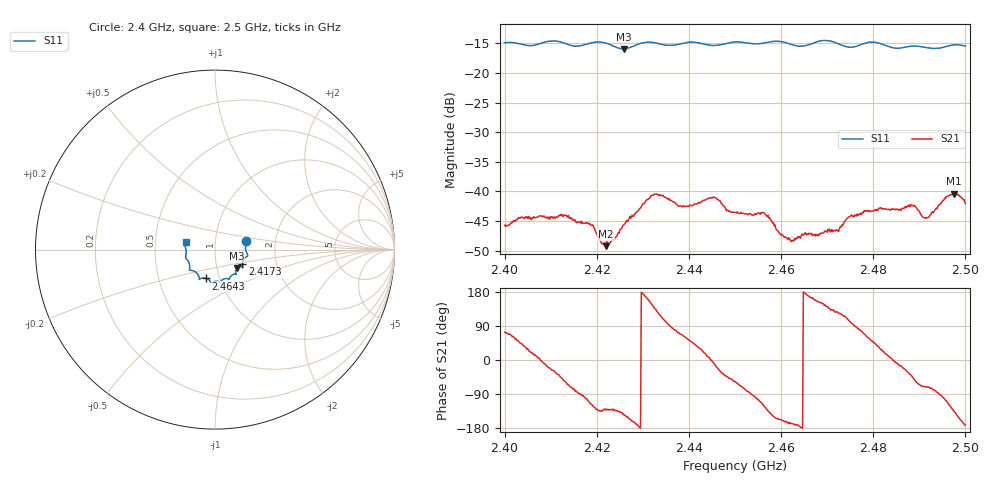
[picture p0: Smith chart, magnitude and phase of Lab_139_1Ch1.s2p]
# Hz S RI R 50
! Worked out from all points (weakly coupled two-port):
!   601 points, 2.4 GHz to 2.5 GHz, reference 50 ohm
!   highest |S21| = -40.40 dB at 2.4975 GHz (marker M1); lowest = -49.3 dB at 2.422 GHz (marker M2)
!   lowest |S11| = -15.9 dB at 2.4258 GHz (marker M3), VSWR 1.38, Z = 62.3 - j13.3 ohm
!   |S11| at or under -10 dB: start of sweep to end of sweep
!   S12 and S22 are empty: the file has one direction only
!   S11 on the Smith chart (normalised r, x): 2.4 GHz: 1.41, +0.14; 2.4173 GHz: 1.34, -0.23; 2.4643 GHz: 0.86, -0.28; 2.5 GHz: 0.72, +0.06
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2.4e9  0.1735 0.0491  0.00147 0.00492  0 0  0 0
2.4125e9  0.1771 -0.0382  0.0041 -0.00478  0 0  0 0
2.416667e9  0.1531 -0.0747  -0.000158 -0.00558  0 0  0 0
2.417333e9  0.1524 -0.082  -0.000744 -0.00534  0 0  0 0
2.422e9  0.1517 -0.0948  -0.00217 -0.00267  0 0  0 0
2.425833e9  0.1215 -0.1038  -0.00419 -0.00308  0 0  0 0
2.433333e9  0.1129 -0.1364  -0.00528 0.00776  0 0  0 0
2.438167e9  0.0827 -0.1555  0.0028 0.007  0 0  0 0
2.4455e9  0.0512 -0.1628  0.00879 -0.0016  0 0  0 0
2.45e9  0.0294 -0.1806  0.00363 -0.00556  0 0  0 0
2.456167e9  -0.00753 -0.1785  -0.00333 -0.0057  0 0  0 0
2.461e9  -0.0261 -0.1784  -0.00386 -0.00128  0 0  0 0
2.464333e9  -0.0501 -0.1607  -0.00415 -0.00012  0 0  0 0
2.466667e9  -0.0761 -0.1597  -0.00421 0.0013  0 0  0 0
2.472167e9  -0.0883 -0.1548  -0.00282 0.00376  0 0  0 0
2.474833e9  -0.1045 -0.1278  -0.0014 0.00594  0 0  0 0
2.478333e9  -0.137 -0.1156  0.00281 0.00631  0 0  0 0
2.483333e9  -0.1409 -0.0902  0.00695 0.00119  0 0  0 0
2.488667e9  -0.1621 -0.0472  0.00511 -0.00562  0 0  0 0
2.4915e9  -0.1612 -0.0301  0.00192 -0.00557  0 0  0 0
2.4975e9  -0.1704 0.0288  -0.00683 -0.00667  0 0  0 0
2.5e9  -0.1635 0.0416  -0.00782 -0.00111  0 0  0 0
